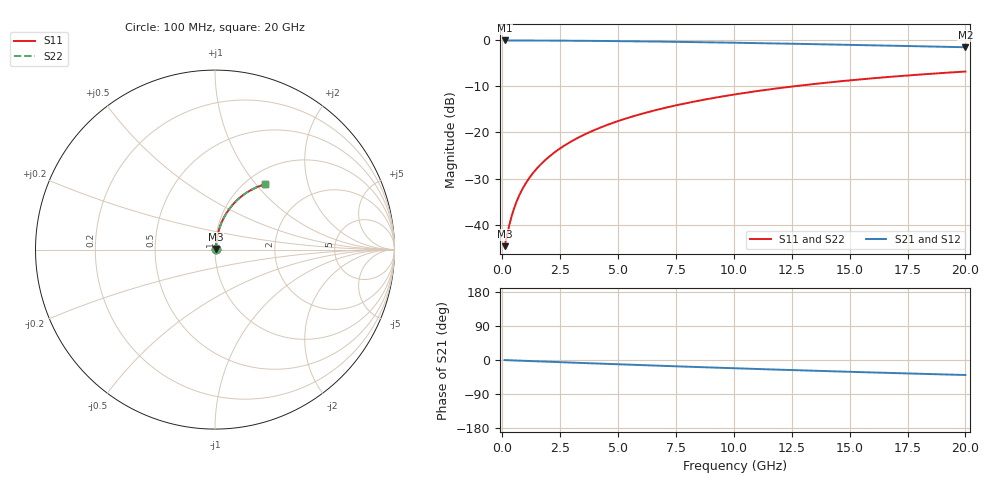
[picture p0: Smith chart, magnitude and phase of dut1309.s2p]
! Touchstone file exported from HFSS 2024.1.0
!  File:  C:/UserFiles/LocalFiles/RDL_TSV_Batchsim/temp_RDL_top_1309_1780364566.aedt
!  Generated:  09:45:18 AM Jun  2, 2026
!  Design:  RDL_top
!  Project:  temp_RDL_top_1309_1780364566
!  Setup:  Setup1
!  Solution:  Sweep
! Variables:
!  dtsv = 10.80580581um
!  hbump = 3um
!  htsv = 78.71um
!  ldown = 100um
!  lrdl = 504.78um
!  p = 40
!  p1 = 44.25um
!  rhole = 1um
!  t = 450um
!  tdown = 3.915915916um
!  trdl = 3.22um
!  wdown = 15.38538539um
!  wrdl = 10.9um
# GHz S MA R 50.000000
! Terminal data exported
! Port[1] = Box2_T1
! Port[2] = Box2_T2
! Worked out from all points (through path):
!   200 points, 100 MHz to 20 GHz, reference 50 ohm
!   highest |S21| = -0.04 dB at 100 MHz (marker M1); lowest = -1.5 dB at 20 GHz (marker M2)
!   group delay of S21, straight-line fit = 5.5 ps
!   lowest |S11| = -44.7 dB at 100 MHz (marker M3), VSWR 1.01, Z = 50.5 + j0.28 ohm
!   |S11| at or under -10 dB: start of sweep to 12.57 GHz
!   |S22| runs from -44.7 to -6.8 dB; largest |S21 - S12| = 4.5e-15
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0.1  0.00585 28.3  0.9949 -0.2  0.9949 -0.2  0.00585 28.3
! Gamma 0 0 0 0
! Port Impedance 50 0 50 0
0.3  0.009842 57.2  0.9947 -0.7  0.9947 -0.7  0.009842 57.2
0.4  0.01228 63.6  0.9946 -0.9  0.9946 -0.9  0.01228 63.6
0.5  0.0148 67.7  0.9944 -1.2  0.9944 -1.2  0.0148 67.7
0.6  0.01736 70.5  0.9943 -1.4  0.9943 -1.4  0.01736 70.5
0.7  0.01995 72.5  0.9941 -1.6  0.9941 -1.6  0.01995 72.5
0.9  0.02515 75.3  0.9938 -2.1  0.9938 -2.1  0.02515 75.3
1.2  0.033 77.6  0.9933 -2.8  0.9933 -2.8  0.033 77.6
1.4  0.03825 78.6  0.9929 -3.2  0.9929 -3.2  0.03825 78.6
1.7  0.04615 79.4  0.9923 -3.9  0.9923 -3.9  0.04615 79.4
2.2  0.05935 80.0  0.991 -5.0  0.991 -5.0  0.05935 80.0
2.8  0.0752 80.0  0.989 -6.4  0.989 -6.4  0.0752 80.0
3.5  0.09366 79.6  0.9863 -8.0  0.9863 -8.0  0.09366 79.6
4.2  0.112 78.8  0.983 -9.5  0.983 -9.5  0.112 78.8
5  0.1329 77.7  0.9786 -11.3  0.9786 -11.3  0.1329 77.7
5.9  0.1562 76.3  0.973 -13.3  0.973 -13.3  0.1562 76.3
6.8  0.1791 74.9  0.9668 -15.2  0.9668 -15.2  0.1791 74.9
8.3  0.2166 72.3  0.9551 -18.3  0.9551 -18.3  0.2166 72.3
10.1  0.26 69.1  0.9395 -22.0  0.9395 -22.0  0.26 69.1
13.4  0.3341 63.4  0.9079 -28.3  0.9079 -28.3  0.3341 63.4
16.7  0.4002 57.8  0.8741 -34.1  0.8741 -34.1  0.4002 57.8
20  0.458 52.6  0.8398 -39.6  0.8398 -39.6  0.458 52.6
